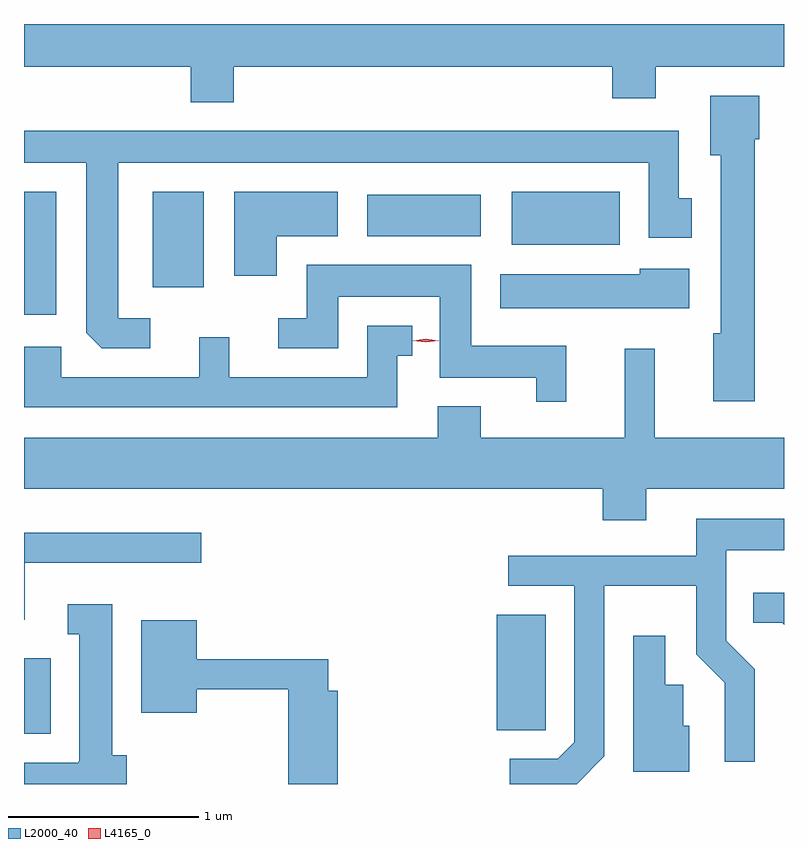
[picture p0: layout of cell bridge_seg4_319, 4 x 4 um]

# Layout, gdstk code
import gdstk
lib = gdstk.Library(unit=1e-6, precision=1e-09)
def R(c, l, rs):  # rectangles x0, y0, x1, y1
    for r in rs: c.add(gdstk.rectangle(r[:2], r[2:], *l))
def P(c, l, *ps):  # polygons
    for p in ps: c.add(gdstk.Polygon(p, *l))
L2000_40 = (2000, 40)
L4165_0 = (4165, 0)

bridge_seg4_319 = lib.new_cell('bridge_seg4_319')
R(bridge_seg4_319, L2000_40, [(507.284,1260.146,507.424,1260.544), (509.771,1260.166,510.029,1260.774), (507.284,1262.351,507.454,1262.999), (507.961,1262.496,508.229,1262.999), (509.851,1262.721,510.419,1262.999), (509.091,1262.766,509.689,1262.984)])
P(bridge_seg4_319, L2000_40, [(508.389,1263.656),(510.381,1263.656),(510.381,1263.491),(510.609,1263.491),(510.609,1263.656),(511.284,1263.656),(511.284,1263.882),(507.284,1263.882),(507.284,1263.656),(508.161,1263.656),(508.161,1263.471),(508.389,1263.471)],
  [(511.129,1263.276),(511.154,1263.276),(511.154,1263.504),(510.896,1263.504),(510.896,1263.191),(510.951,1263.191),(510.951,1262.254),(510.911,1262.254),(510.911,1261.896),(511.129,1261.896)],
  [(507.948,1262.334),(507.779,1262.334),(507.779,1263.151),(510.571,1263.151),(510.571,1262.756),(510.799,1262.756),(510.799,1262.964),(510.729,1262.964),(510.729,1263.319),(507.284,1263.319),(507.284,1263.151),(507.611,1263.151),(507.611,1262.257),(507.692,1262.176),(507.948,1262.176)],
  [(508.614,1262.766),(508.934,1262.766),(508.934,1262.999),(508.391,1262.999),(508.391,1262.556),(508.614,1262.556)],
  [(510.139,1262.189),(509.639,1262.189),(509.639,1262.614),(508.771,1262.614),(508.771,1262.334),(508.623,1262.334),(508.623,1262.176),(508.939,1262.176),(508.939,1262.446),(509.471,1262.446),(509.471,1262.021),(509.981,1262.021),(509.981,1261.893),(510.139,1261.893)],
  [(510.784,1262.594),(510.526,1262.594),(510.526,1262.564),(509.791,1262.564),(509.791,1262.386),(510.784,1262.386)],
  [(509.249,1262.136),(509.328,1262.136),(509.328,1262.294),(509.091,1262.294),(509.091,1262.024),(508.364,1262.024),(508.364,1262.233),(508.206,1262.233),(508.206,1262.024),(507.479,1262.024),(507.479,1262.184),(507.284,1262.184),(507.284,1261.866),(509.249,1261.866)],
  [(510.331,1261.271),(510.559,1261.271),(510.559,1261.436),(511.284,1261.436),(511.284,1261.704),(510.604,1261.704),(510.604,1262.173),(510.446,1262.173),(510.446,1261.704),(509.689,1261.704),(509.689,1261.869),(509.461,1261.869),(509.461,1261.704),(507.284,1261.704),(507.284,1261.436),(510.331,1261.436)],
  [(510.339,1260.029),(510.339,1260.926),(510.821,1260.926),(510.821,1260.564),(510.971,1260.414),(510.971,1259.998),(511.129,1259.998),(511.129,1260.487),(510.979,1260.637),(510.979,1261.111),(511.284,1261.111),(511.284,1261.279),(510.821,1261.279),(510.821,1261.084),(509.833,1261.084),(509.833,1260.926),(510.181,1260.926),(510.181,1260.102),(510.094,1260.014),(509.841,1260.014),(509.841,1259.882),(510.193,1259.882)],
  [(507.289,1261.046),(508.218,1261.046),(508.218,1261.204),(507.284,1261.204),(507.284,1260.746),(507.289,1260.746)],
  [(511.284,1260.889),(511.123,1260.889),(511.123,1260.731),(511.274,1260.731),(511.284,1260.721)],
  [(507.824,1260.034),(507.749,1260.034),(507.749,1260.829),(507.513,1260.829),(507.513,1260.671),(507.576,1260.671),(507.576,1260),(507.57,1260),(507.57,1259.994),(507.284,1259.994),(507.284,1259.882),(507.824,1259.882)],
  [(508.934,1260.374),(508.884,1260.374),(508.884,1260.539),(508.194,1260.539),(508.194,1260.744),(507.901,1260.744),(507.901,1260.256),(508.194,1260.256),(508.194,1260.381),(508.676,1260.381),(508.676,1259.882),(508.934,1259.882)],
  [(510.784,1260.189),(510.754,1260.189),(510.754,1260.404),(510.659,1260.404),(510.659,1260.663),(510.491,1260.663),(510.491,1259.946),(510.784,1259.946)])
P(bridge_seg4_319, L4165_0, [(509.398,1262.206),(509.329,1262.215),(509.329,1262.215),(509.329,1262.216),(509.398,1262.225),(509.468,1262.216),(509.468,1262.216),(509.468,1262.215)])

lib.write_gds('bridge_seg4_319.gds')
